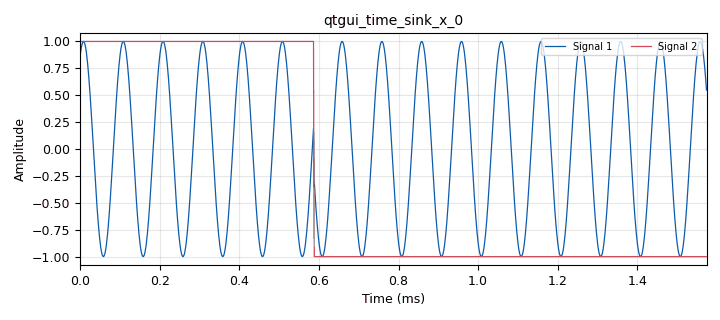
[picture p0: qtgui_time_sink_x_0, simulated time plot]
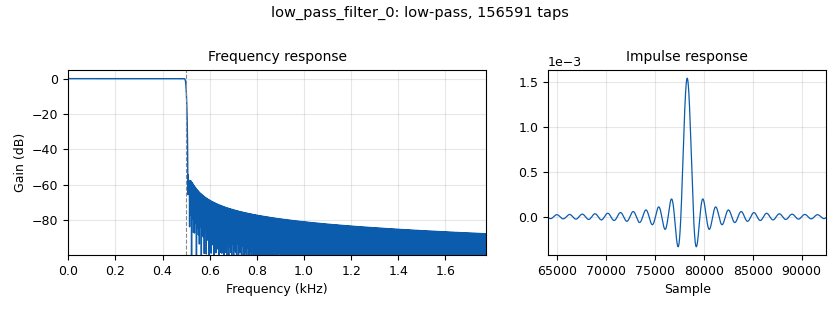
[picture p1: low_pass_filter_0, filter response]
options:
  parameters:
    generate_options: qt_gui
    id: bpsk_q1_pluto
    output_language: python
    title: Not titled yet
  states: {}

blocks:
- name: samp_rate
  id: variable
  parameters:
    value: '650000'
  states: {}
- name: analog_sig_source_x_0
  id: analog_sig_source_x
  parameters:
    amp: '1'
    freq: '10000'
    offset: '0'
    phase: '0'
    samp_rate: samp_rate
    type: float
    waveform: analog.GR_SIN_WAVE
  states: {}
- name: analog_sig_source_x_1
  id: analog_sig_source_x
  parameters:
    amp: '2'
    freq: '500'
    offset: '-1'
    phase: '180'
    samp_rate: samp_rate
    type: float
    waveform: analog.GR_SQR_WAVE
  states: {}
- name: blocks_add_const_vxx_0
  id: blocks_add_const_vxx
  parameters:
    const: '-0.5'
    type: float
  states: {}
- name: blocks_complex_to_float_0
  id: blocks_complex_to_float
  parameters: {}
  states: {}
- name: blocks_float_to_complex_0
  id: blocks_float_to_complex
  parameters: {}
  states: {}
- name: blocks_multiply_const_vxx_0
  id: blocks_multiply_const_vxx
  parameters:
    const: '2'
    type: float
  states: {}
- name: blocks_multiply_xx_0
  id: blocks_multiply_xx
  parameters:
    type: float
  states: {}
- name: blocks_threshold_ff_0
  id: blocks_threshold_ff
  parameters:
    high: '0.0001'
    init: '0'
    low: '-0.0001'
  states: {}
- name: iio_pluto_sink_0
  id: iio_pluto_sink
  parameters:
    attenuation1: '10.0'
    bandwidth: '20000000'
    buffer_size: '32768'
    cyclic: 'False'
    filter_source: '''Auto'''
    frequency: '2400000000'
    samplerate: samp_rate
    type: fc32
    uri: 192.168.2.1
  states: {}
- name: iio_pluto_source_0
  id: iio_pluto_source
  parameters:
    bandwidth: '20000000'
    bbdc: 'True'
    buffer_size: '32768'
    filter_source: '''Auto'''
    frequency: '2400000000'
    gain1: '''slow_attack'''
    quadrature: 'True'
    rfdc: 'True'
    samplerate: samp_rate
    type: fc32
    uri: 192.168.2.1
  states: {}
- name: low_pass_filter_0
  id: low_pass_filter
  parameters:
    cutoff_freq: '500'
    decim: '1'
    gain: '1'
    samp_rate: samp_rate
    type: fir_filter_fff
    width: '10'
    win: window.WIN_HAMMING
  states: {}
- name: qtgui_time_sink_x_0
  id: qtgui_time_sink_x
  parameters:
    ctrlpanel: 'True'
    nconnections: '2'
    size: '1024'
    srate: samp_rate
    type: float
  states: {}
- name: qtgui_time_sink_x_1
  id: qtgui_time_sink_x
  parameters:
    ctrlpanel: 'True'
    entags: 'False'
    size: '1024'
    srate: samp_rate
    type: float
  states: {}

connections:
- [analog_sig_source_x_0, '0', blocks_multiply_xx_0, '0']
- [analog_sig_source_x_1, '0', blocks_multiply_xx_0, '1']
- [analog_sig_source_x_1, '0', qtgui_time_sink_x_0, '1']
- [blocks_add_const_vxx_0, '0', blocks_multiply_const_vxx_0, '0']
- [blocks_complex_to_float_0, '0', low_pass_filter_0, '0']
- [blocks_float_to_complex_0, '0', iio_pluto_sink_0, '0']
- [blocks_multiply_const_vxx_0, '0', qtgui_time_sink_x_1, '0']
- [blocks_multiply_xx_0, '0', blocks_float_to_complex_0, '0']
- [blocks_multiply_xx_0, '0', qtgui_time_sink_x_0, '0']
- [blocks_threshold_ff_0, '0', blocks_add_const_vxx_0, '0']
- [iio_pluto_source_0, '0', blocks_complex_to_float_0, '0']
- [low_pass_filter_0, '0', blocks_threshold_ff_0, '0']

metadata:
  file_format: 1
  grc_version: 3.10.9.2
